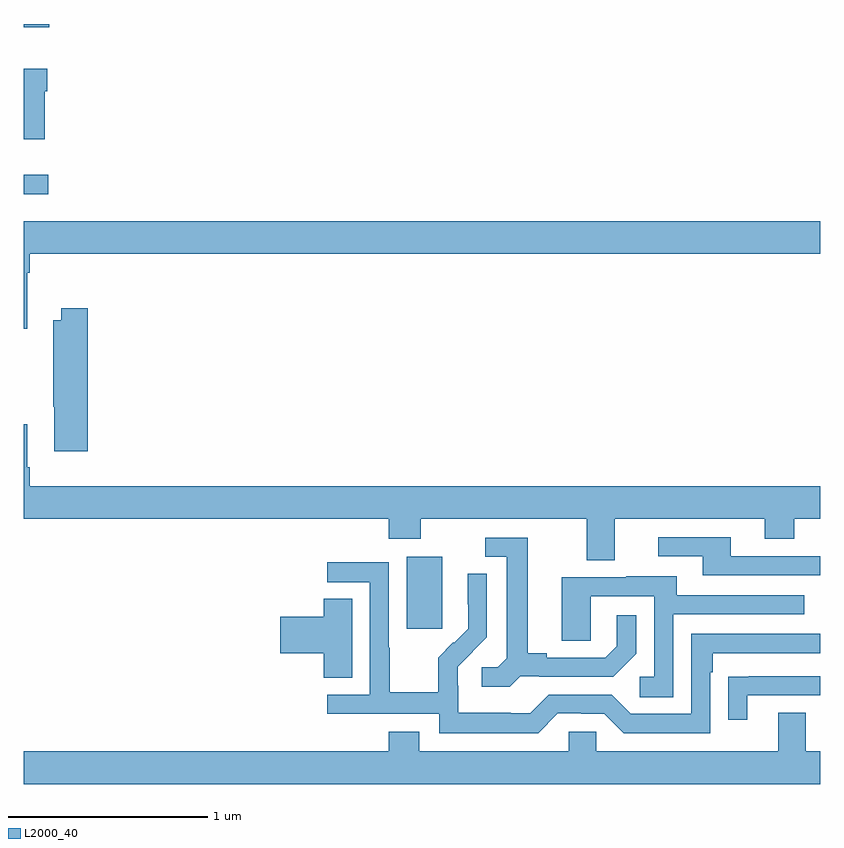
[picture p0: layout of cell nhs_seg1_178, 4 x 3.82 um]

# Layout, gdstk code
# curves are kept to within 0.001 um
import gdstk
lib = gdstk.Library(unit=1e-6, precision=1e-09)
def R(c, l, rs):  # rectangles x0, y0, x1, y1
    for r in rs: c.add(gdstk.rectangle(r[:2], r[2:], *l))
def P(c, l, *ps):  # polygons
    for p in ps: c.add(gdstk.Polygon(p, *l))
L2000_40 = (2000, 40)

nhs_seg1_178 = lib.new_cell('nhs_seg1_178')
R(nhs_seg1_178, L2000_40, [(120.923,571.161,121.102,571.522), (119,573.344,119.122,573.441), (119,574.182,119.126,574.199)])
P(nhs_seg1_178, L2000_40, [(119.104,573.86),(119.117,573.86),(119.117,573.973),(119,573.973),(119,573.62),(119.104,573.62)],
  [(119.017,572.948),(119.03,572.948),(119.03,573.044),(123,573.044),(123,573.208),(119,573.208),(119,572.667),(119.017,572.667)],
  [(119.321,572.77),(119.186,572.77),(119.186,572.71),(119.146,572.71),(119.146,572.275),(119.153,572.275),(119.153,572.052),(119.321,572.052)],
  [(121.969,571.712),(122.723,571.712),(122.723,571.613),(122.871,571.613),(122.871,571.712),(123,571.712),(123,571.876),(119.03,571.876),(119.03,571.972),(119.017,571.972),(119.017,572.188),(119,572.188),(119,571.712),(120.833,571.712),(120.833,571.613),(120.993,571.613),(120.993,571.712),(121.829,571.712),(121.829,571.504),(121.969,571.504)],
  [(123,571.524),(122.551,571.524),(122.551,571.62),(122.187,571.62),(122.187,571.524),(122.411,571.524),(122.411,571.428),(123,571.428)],
  [(121.494,570.921),(121.588,570.921),(121.588,570.918),(121.96,570.918),(122.076,571.034),(122.076,571.228),(121.979,571.228),(121.979,571.071),(121.922,571.014),(121.627,571.014),(121.627,571.037),(121.531,571.037),(121.531,571.617),(121.317,571.617),(121.317,571.521),(121.427,571.521),(121.427,571.013),(121.38,570.966),(121.299,570.966),(121.299,570.869),(121.442,570.869)],
  [(121.683,570.735),(121.799,570.735),(121.799,570.732),(121.917,570.732),(122.013,570.636),(122.448,570.636),(122.448,570.941),(122.461,570.941),(122.461,571.038),(123,571.038),(123,571.134),(122.352,571.134),(122.352,570.732),(122.049,570.732),(121.953,570.828),(121.638,570.828),(121.545,570.735),(121.445,570.735),(121.445,570.739),(121.182,570.739),(121.182,570.873),(121.18,570.873),(121.18,570.97),(121.326,571.118),(121.326,571.436),(121.23,571.436),(121.23,571.282),(121.232,571.282),(121.232,571.16),(121.161,571.089),(121.158,571.092),(121.081,571.015),(121.081,570.841),(120.837,570.841),(120.837,571.064),(120.834,571.064),(120.834,571.494),(120.525,571.494),(120.525,571.395),(120.738,571.395),(120.738,570.828),(120.525,570.828),(120.525,570.732),(121.086,570.732),(121.086,570.635),(121.583,570.635)],
  [(122.262,571.233),(122.921,571.233),(122.921,571.329),(122.281,571.329),(122.281,571.423),(122.027,571.423),(122.027,571.419),(121.703,571.419),(121.703,571.099),(121.848,571.099),(121.848,571.323),(122.166,571.323),(122.166,570.918),(122.094,570.918),(122.094,570.817),(122.262,570.817)],
  [(120.649,571.31),(120.506,571.31),(120.506,571.22),(120.288,571.22),(120.288,571.037),(120.506,571.037),(120.506,570.913),(120.649,570.913)],
  [(122.635,570.825),(123,570.825),(123,570.921),(122.641,570.921),(122.641,570.92),(122.539,570.92),(122.539,570.702),(122.635,570.702)],
  [(123,570.544),(122.929,570.544),(122.929,570.739),(122.789,570.739),(122.789,570.544),(121.875,570.544),(121.875,570.642),(121.737,570.642),(121.737,570.544),(120.985,570.544),(120.985,570.643),(120.833,570.643),(120.833,570.544),(119,570.544),(119,570.38),(123,570.38)])

lib.write_gds('nhs_seg1_178.gds')
